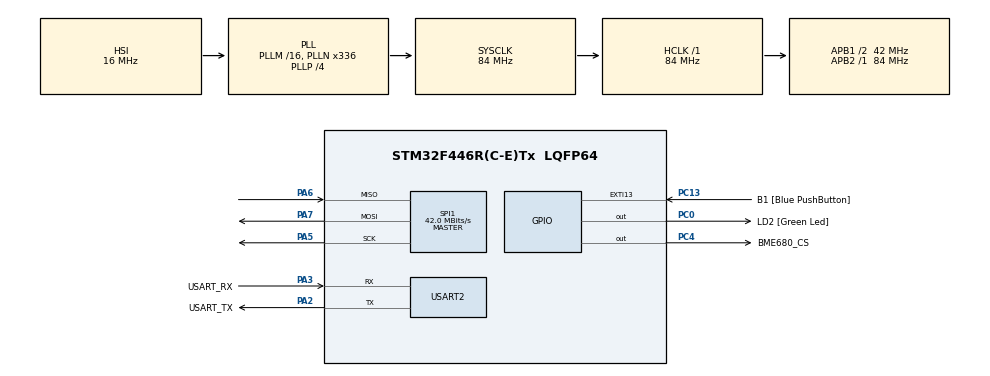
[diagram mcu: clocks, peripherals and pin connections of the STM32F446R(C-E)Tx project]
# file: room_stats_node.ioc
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Mcu.Family=STM32F4
Mcu.Name=STM32F446R(C-E)Tx
Mcu.Package=LQFP64
NVIC.PriorityGroup=NVIC_PRIORITYGROUP_0
PA13.GPIO_Label=TMS
PA13.Mode=Serial_Wire
PA13.Signal=SYS_JTMS-SWDIO
PA14.GPIO_Label=TCK
PA14.Mode=Serial_Wire
PA14.Signal=SYS_JTCK-SWCLK
PA2.GPIO_Label=USART_TX
PA2.Mode=Asynchronous
PA2.Signal=USART2_TX
PA3.GPIO_Label=USART_RX
PA3.Mode=Asynchronous
PA3.Signal=USART2_RX
PA5.Mode=Full_Duplex_Master
PA5.Signal=SPI1_SCK
PA6.Mode=Full_Duplex_Master
PA6.Signal=SPI1_MISO
PA7.Mode=Full_Duplex_Master
PA7.Signal=SPI1_MOSI
PB3.GPIO_Label=SWO
PB3.Signal=SYS_JTDO-SWO
PC0.GPIO_Label=LD2 [Green Led]
PC0.Signal=GPIO_Output
PC13.GPIO_Label=B1 [Blue PushButton]
PC13.GPIO_ModeDefaultEXTI=GPIO_MODE_IT_FALLING
PC13.Signal=GPXTI13
PC14-OSC32_IN.Mode=LSE-External-Oscillator
PC14-OSC32_IN.Signal=RCC_OSC32_IN
PC15-OSC32_OUT.Mode=LSE-External-Oscillator
PC15-OSC32_OUT.Signal=RCC_OSC32_OUT
PC4.GPIO_Label=BME680_CS
PC4.Signal=GPIO_Output
PH0-OSC_IN.Mode=HSE-External-Oscillator
PH0-OSC_IN.Signal=RCC_OSC_IN
PH1-OSC_OUT.Mode=HSE-External-Oscillator
PH1-OSC_OUT.Signal=RCC_OSC_OUT
ProjectManager.HeapSize=0x200
ProjectManager.StackSize=0x400
ProjectManager.TargetToolchain=STM32CubeIDE
RCC.48MHZClocksFreq_Value=84000000
RCC.AHBFreq_Value=84000000
RCC.APB1CLKDivider=RCC_HCLK_DIV2
RCC.APB1Freq_Value=42000000
RCC.APB1TimFreq_Value=84000000
RCC.APB2Freq_Value=84000000
RCC.APB2TimFreq_Value=84000000
RCC.CortexFreq_Value=84000000
RCC.FLatency-AdvancedSettings=FLASH_LATENCY_2
RCC.HCLKFreq_Value=84000000
RCC.HSE_VALUE=8000000
RCC.HSI_VALUE=16000000
RCC.PLLN=336
RCC.PLLP=RCC_PLLP_DIV4
RCC.SYSCLKFreq_VALUE=84000000
RCC.SYSCLKSource=RCC_SYSCLKSOURCE_PLLCLK
RCC.USBFreq_Value=168000000
RCC.VCOOutputFreq_Value=336000000
SPI1.CalculateBaudRate=42.0 MBits/s
SPI1.Direction=SPI_DIRECTION_2LINES
SPI1.Mode=SPI_MODE_MASTER
SPI1.VirtualType=VM_MASTER
USART2.VirtualMode=VM_ASYNC
board=NUCLEO-F446RE

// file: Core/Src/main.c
/* USER CODE BEGIN Header */
/**
  ******************************************************************************
  * @file           : main.c
  * @brief          : Main program body
  ******************************************************************************
  * @attention
  *
  * Copyright (c) 2025 STMicroelectronics.
  * All rights reserved.
  *
  * This software is licensed under terms that can be found in the LICENSE file
  * in the root directory of this software component.
  * If no LICENSE file comes with this software, it is provided AS-IS.
  *
  ******************************************************************************
  */
/* USER CODE END Header */
#include "main.h"

/* USER CODE BEGIN Includes */
#include <string.h>
#include "bme68x.h"
/* USER CODE END Includes */

SPI_HandleTypeDef hspi1;

UART_HandleTypeDef huart2;

/* USER CODE BEGIN PV */
typedef struct {
	SPI_HandleTyxpeDef *hspi;
	GPIO_TypeDef *cs_port;
	uint16_t cs_pin;
} bme68x_spi_ctx_t;

struct bme68x_dev bme_dev;
bme68x_spi_ctx_t bme_ctx;
/* USER CODE END PV */

void SystemClock_Config(void);
static void MX_GPIO_Init(void);
static void MX_USART2_UART_Init(void);
static void MX_SPI1_Init(void);

/* USER CODE BEGIN 0 */
static void cs_low(bme68x_spi_ctx_t *ctx) {
	HAL_GPIO_WritePin(ctx->cs_port, ctx->cs_pin, GPIO_PIN_RESET);
}

static void cs_high(bme68x_spi_ctx_t *ctx) {
	HAL_GPIO_WritePin(ctx->cs_port, ctx->cs_pin, GPIO_PIN_SET);
}

static int8_t spi_read(uint8_t reg, uint8_t *data, uint32_t len, void *intf_ptr) {
	bme68x_spi_ctx_t *ctx = (bme68x_spi_ctx_t*)intf_ptr;
	cs_low(ctx);
	if (HAL_SPI_Transmit(ctx->hspi, &reg, 1, HAL_MAX_DELAY) != HAL_OK) { cs_high(ctx); return -1; } // send reg addr
	if (HAL_SPI_Receive(ctx->hspi, data, len, HAL_MAX_DELAY) != HAL_OK) { cs_high(ctx); return -1; } // read payload
	cs_high(ctx);
	return 0;
}

static int8_t spi_write(uint8_t reg, const uint8_t *data, uint32_t len, void *intf_ptr) {
	bme68x_spi_ctx_t *ctx = (bme68x_spi_ctx_t*)intf_ptr;
	cs_low(ctx);
	if (HAL_SPI_Transmit(ctx->hspi, &reg, 1, HAL_MAX_DELAY) != HAL_OK) { cs_high(ctx); return -1; } // send reg addr
	if (HAL_SPI_Transmit(ctx->hspi, (uint8_t*)data, len, HAL_MAX_DELAY) != HAL_OK) { cs_high(ctx); return -1; } // send payload
	cs_high(ctx);
	return 0;
}

static void delay_us(uint32_t us, void *intf_ptr) {
	uint32_t start = DWT->CYCCNT;
	uint32_t ticks = (HAL_RCC_GetHCLKFreq()/1000000) * us;
	while ((DWT->CYCCNT - start) < ticks);
}
/* USER CODE END 0 */

int main(void)
{

  /* MCU Configuration--------------------------------------------------------*/

  /* Reset of all peripherals, Initializes the Flash interface and the Systick. */
  HAL_Init();

  /* Configure the system clock */
  SystemClock_Config();

  /* Initialize all configured peripherals */
  MX_GPIO_Init();
  MX_USART2_UART_Init();
  MX_SPI1_Init();
  /* USER CODE BEGIN 2 */
  bme_ctx.hspi = &hspi1;
  bme_ctx.cs_port = BME680_CS_GPIO_Port; // from main.h
  bme_ctx.cs_pin = BME_CS_Pin; // from main.h

  bme_dev.intf = BMEX_SPI_INTF;
  bme_dev.intf_ptr = &bme_ctx;
  bme_dev.read = spi_read;
  bme_dev.write = spi_write;
  bme_dev.delay_us = delay_us;
  bme_dev.amb_temp = 25;

  if (bme68xinit(&bme_dev) != BME68X_OK) {
	  Error_Handler();
  }

  struct bme68x_conf conf = {
	.os_hum = BME68X_OS_16X,
	.os_temp = BME68X_OS_2X,
	.os_pres = BME68X_OS_1X,
	.filter = BME68X_FILTER_SIZE_3,
	.odr = BME68X_ODR_NONE
  };
  bme68x_set_conf(&conf, &bme_dev);

  struct bme68x_heatr_conf hconf = {
	.enable = BME68X_ENABLE,
	.heatr_temp = 300, // °C
	.heatr_dur = 100 // ms
  };
  bme68x_set_heatr_conf(BME68X_FORCED_MODE, &hconf, &bme_dev);

  printf("Sample, TimeStamp(ms), Temperature(deg C), Pressure(Pa), Humidity(%%), Gas resistance(ohm), Status\n");
  /* USER CODE END 2 */

  /* Infinite loop */
  while (1)
  {

    /* USER CODE BEGIN 3 */
	uint8_t n_fields = 0;
	struct bme68x_data data;
	bme68x_set_op_mode(BME68X_FORCED_MODE, &bme_dev);

	/* Calculate delay period in microseconds (us) */
	uint32_t del_us = bme68x_get_meas_dur(BME68X_FORCED_MODE, &conf, &bme_dev) + (uint32_t)(hconf.heatr_dur * 1000);
	bme_dev.delay_us(del_us, bme_dev.intf_ptr);

	if (bme68x_get_data(BME68X_FORCED_MODE, &data, &n_fields, &bme_dev) == BME68X_OK && n_fields) {
		char msg[128];

		snprintf(msg, sizeof(msg),
				"T=%d.%02d C, P=%lu Pa, H=%lu.%03lu %%, Gas=%lu Ohm, St=0x%02X\r\n",
				data.temperature / 100, data.temperature % 100,
				(unsigned long)data.pressure,
				(unsigned long)(data.humidity / 1000),
				(unsigned long)(data.humidity % 1000),
				(unsigned long)data.gas_resistance,
				(unsigned)data.status
		);

		HAL_UART_Transmit(&huart2, (uint8_t*)msg, strlen(msg), HAL_MAX_DELAY);
	}

	HAL_Delay(1000); // Delay 1 s
  }
  /* USER CODE END 3 */
}

void SystemClock_Config(void)
{
  RCC_OscInitTypeDef RCC_OscInitStruct = {0};
  RCC_ClkInitTypeDef RCC_ClkInitStruct = {0};

  /** Configure the main internal regulator output voltage
  */
  __HAL_RCC_PWR_CLK_ENABLE();
  __HAL_PWR_VOLTAGESCALING_CONFIG(PWR_REGULATOR_VOLTAGE_SCALE3);

  /** Initializes the RCC Oscillators according to the specified parameters
  * in the RCC_OscInitTypeDef structure.
  */
  RCC_OscInitStruct.OscillatorType = RCC_OSCILLATORTYPE_HSI;
  RCC_OscInitStruct.HSIState = RCC_HSI_ON;
  RCC_OscInitStruct.HSICalibrationValue = RCC_HSICALIBRATION_DEFAULT;
  RCC_OscInitStruct.PLL.PLLState = RCC_PLL_ON;
  RCC_OscInitStruct.PLL.PLLSource = RCC_PLLSOURCE_HSI;
  RCC_OscInitStruct.PLL.PLLM = 16;
  RCC_OscInitStruct.PLL.PLLN = 336;
  RCC_OscInitStruct.PLL.PLLP = RCC_PLLP_DIV4;
  RCC_OscInitStruct.PLL.PLLQ = 2;
  RCC_OscInitStruct.PLL.PLLR = 2;
  if (HAL_RCC_OscConfig(&RCC_OscInitStruct) != HAL_OK)
  {
    Error_Handler();
  }

  /** Initializes the CPU, AHB and APB buses clocks
  */
  RCC_ClkInitStruct.ClockType = RCC_CLOCKTYPE_HCLK|RCC_CLOCKTYPE_SYSCLK
                              |RCC_CLOCKTYPE_PCLK1|RCC_CLOCKTYPE_PCLK2;
  RCC_ClkInitStruct.SYSCLKSource = RCC_SYSCLKSOURCE_PLLCLK;
  RCC_ClkInitStruct.AHBCLKDivider = RCC_SYSCLK_DIV1;
  RCC_ClkInitStruct.APB1CLKDivider = RCC_HCLK_DIV2;
  RCC_ClkInitStruct.APB2CLKDivider = RCC_HCLK_DIV1;

  if (HAL_RCC_ClockConfig(&RCC_ClkInitStruct, FLASH_LATENCY_2) != HAL_OK)
  {
    Error_Handler();
  }
}

static void MX_SPI1_Init(void)
{

  /* SPI1 parameter configuration*/
  hspi1.Instance = SPI1;
  hspi1.Init.Mode = SPI_MODE_MASTER;
  hspi1.Init.Direction = SPI_DIRECTION_2LINES;
  hspi1.Init.DataSize = SPI_DATASIZE_8BIT;
  hspi1.Init.CLKPolarity = SPI_POLARITY_LOW;
  hspi1.Init.CLKPhase = SPI_PHASE_1EDGE;
  hspi1.Init.NSS = SPI_NSS_SOFT;
  hspi1.Init.BaudRatePrescaler = SPI_BAUDRATEPRESCALER_2;
  hspi1.Init.FirstBit = SPI_FIRSTBIT_MSB;
  hspi1.Init.TIMode = SPI_TIMODE_DISABLE;
  hspi1.Init.CRCCalculation = SPI_CRCCALCULATION_DISABLE;
  hspi1.Init.CRCPolynomial = 10;
  if (HAL_SPI_Init(&hspi1) != HAL_OK)
  {
    Error_Handler();
  }

}

static void MX_USART2_UART_Init(void)
{

  huart2.Instance = USART2;
  huart2.Init.BaudRate = 115200;
  huart2.Init.WordLength = UART_WORDLENGTH_8B;
  huart2.Init.StopBits = UART_STOPBITS_1;
  huart2.Init.Parity = UART_PARITY_NONE;
  huart2.Init.Mode = UART_MODE_TX_RX;
  huart2.Init.HwFlowCtl = UART_HWCONTROL_NONE;
  huart2.Init.OverSampling = UART_OVERSAMPLING_16;
  if (HAL_UART_Init(&huart2) != HAL_OK)
  {
    Error_Handler();
  }

}

static void MX_GPIO_Init(void)
{
  GPIO_InitTypeDef GPIO_InitStruct = {0};

  /* GPIO Ports Clock Enable */
  __HAL_RCC_GPIOC_CLK_ENABLE();
  __HAL_RCC_GPIOH_CLK_ENABLE();
  __HAL_RCC_GPIOA_CLK_ENABLE();
  __HAL_RCC_GPIOB_CLK_ENABLE();

  /*Configure GPIO pin Output Level */
  HAL_GPIO_WritePin(GPIOC, LD2_Pin|BME680_CS_Pin, GPIO_PIN_RESET);

  /*Configure GPIO pin : B1_Pin */
  GPIO_InitStruct.Pin = B1_Pin;
  GPIO_InitStruct.Mode = GPIO_MODE_IT_FALLING;
  GPIO_InitStruct.Pull = GPIO_NOPULL;
  HAL_GPIO_Init(B1_GPIO_Port, &GPIO_InitStruct);

  /*Configure GPIO pins : LD2_Pin BME680_CS_Pin */
  GPIO_InitStruct.Pin = LD2_Pin|BME680_CS_Pin;
  GPIO_InitStruct.Mode = GPIO_MODE_OUTPUT_PP;
  GPIO_InitStruct.Pull = GPIO_NOPULL;
  GPIO_InitStruct.Speed = GPIO_SPEED_FREQ_LOW;
  HAL_GPIO_Init(GPIOC, &GPIO_InitStruct);

}

void Error_Handler(void)
{
  __disable_irq();
  while (1)
  {
  }
}
